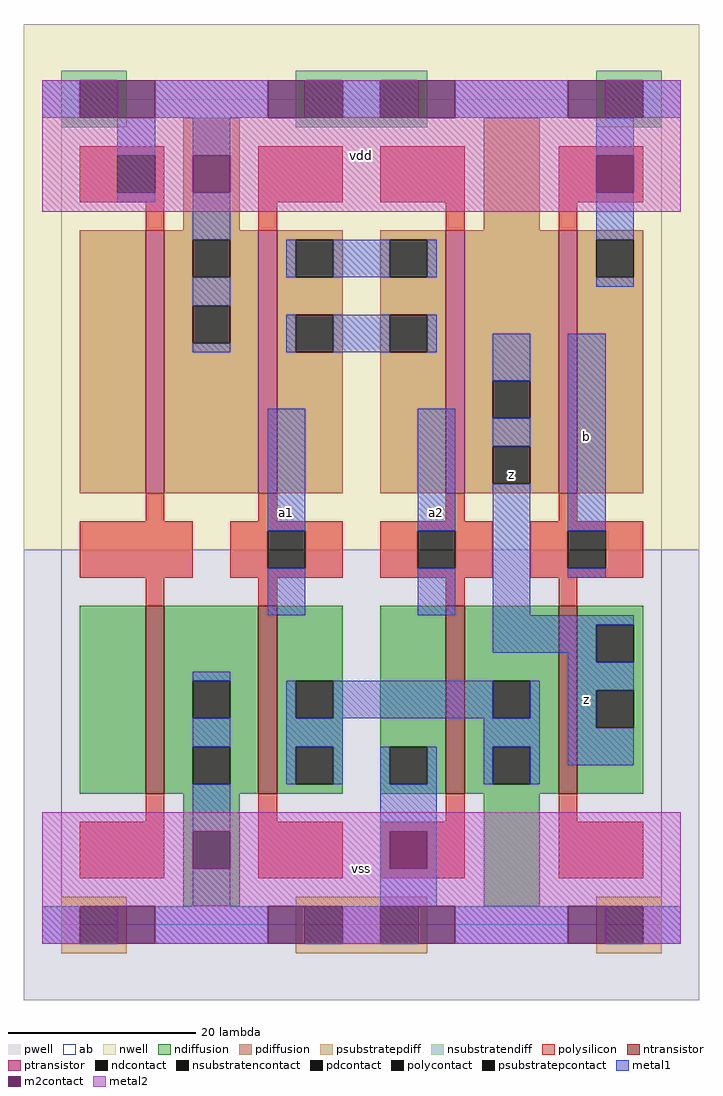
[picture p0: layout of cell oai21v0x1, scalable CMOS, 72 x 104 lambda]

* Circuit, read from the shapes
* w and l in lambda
.subckt oai21v0x1 a1 a2 b vdd vss z
M1 vss vdd n1 vss nfet w=20 l=2
M2 n2 a1 vss vss nfet w=20 l=2
M3 n2 a2 vss vss nfet w=20 l=2
M4 z b n2 vss nfet w=20 l=2
M5 vdd vdd n3 vdd pfet w=28 l=2
M6 n4 a1 vdd vdd pfet w=28 l=2
M7 z a2 n4 vdd pfet w=28 l=2
M8 vdd b z vdd pfet w=28 l=2
.ends

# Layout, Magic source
magic
tech scmos
<< ab >>
rect 0 0 64 88
<< pwell >>
rect -4 -8 68 40
<< nwell >>
rect -4 40 68 96
<< polysilicon >>
rect 2 82 11 83
rect 2 78 6 82
rect 10 78 11 82
rect 2 77 11 78
rect 9 74 11 77
rect 21 77 30 83
rect 34 77 43 83
rect 21 74 23 77
rect 41 74 43 77
rect 53 77 62 83
rect 53 74 55 77
rect 9 43 11 46
rect 21 43 23 46
rect 41 43 43 46
rect 53 43 55 46
rect 2 37 14 43
rect 18 42 30 43
rect 18 38 22 42
rect 26 38 30 42
rect 18 37 30 38
rect 34 42 46 43
rect 34 38 38 42
rect 42 38 46 42
rect 34 37 46 38
rect 50 42 62 43
rect 50 38 54 42
rect 58 38 62 42
rect 50 37 62 38
rect 9 34 11 37
rect 21 34 23 37
rect 41 34 43 37
rect 53 34 55 37
rect 9 11 11 14
rect 2 5 11 11
rect 21 11 23 14
rect 41 11 43 14
rect 21 5 30 11
rect 34 5 43 11
rect 53 11 55 14
rect 53 5 62 11
<< ndiffusion >>
rect 2 14 9 34
rect 11 26 21 34
rect 11 22 14 26
rect 18 22 21 26
rect 11 19 21 22
rect 11 15 14 19
rect 18 15 21 19
rect 11 14 21 15
rect 23 26 30 34
rect 23 22 25 26
rect 29 22 30 26
rect 23 19 30 22
rect 23 15 25 19
rect 29 15 30 19
rect 23 14 30 15
rect 34 19 41 34
rect 34 15 35 19
rect 39 15 41 19
rect 34 14 41 15
rect 43 26 53 34
rect 43 22 46 26
rect 50 22 53 26
rect 43 19 53 22
rect 43 15 46 19
rect 50 15 53 19
rect 43 14 53 15
rect 55 32 62 34
rect 55 28 57 32
rect 61 28 62 32
rect 55 25 62 28
rect 55 21 57 25
rect 61 21 62 25
rect 55 14 62 21
rect 13 2 19 14
rect 45 2 51 14
<< pdiffusion >>
rect 13 74 19 86
rect 45 74 51 86
rect 2 46 9 74
rect 11 73 21 74
rect 11 69 14 73
rect 18 69 21 73
rect 11 66 21 69
rect 11 62 14 66
rect 18 62 21 66
rect 11 46 21 62
rect 23 73 30 74
rect 23 69 25 73
rect 29 69 30 73
rect 23 65 30 69
rect 23 61 25 65
rect 29 61 30 65
rect 23 46 30 61
rect 34 73 41 74
rect 34 69 35 73
rect 39 69 41 73
rect 34 65 41 69
rect 34 61 35 65
rect 39 61 41 65
rect 34 46 41 61
rect 43 58 53 74
rect 43 54 46 58
rect 50 54 53 58
rect 43 51 53 54
rect 43 47 46 51
rect 50 47 53 51
rect 43 46 53 47
rect 55 73 62 74
rect 55 69 57 73
rect 61 69 62 73
rect 55 46 62 69
<< metal1 >>
rect -2 86 2 90
rect 10 86 22 90
rect 30 86 34 90
rect 42 86 54 90
rect 62 86 66 90
rect 6 82 10 86
rect 6 77 10 78
rect 14 82 18 86
rect 14 73 18 78
rect 57 82 61 86
rect 57 73 61 78
rect 24 69 25 73
rect 29 69 35 73
rect 39 69 40 73
rect 14 66 18 69
rect 57 68 61 69
rect 14 61 18 62
rect 24 61 25 65
rect 29 61 35 65
rect 39 61 40 65
rect 46 58 50 63
rect 22 42 26 55
rect 22 33 26 38
rect 38 42 42 55
rect 38 33 42 38
rect 46 51 50 54
rect 46 33 50 47
rect 54 42 58 63
rect 54 37 58 38
rect 46 32 61 33
rect 46 29 57 32
rect 54 28 57 29
rect 14 26 18 27
rect 14 19 18 22
rect 24 22 25 26
rect 29 22 46 26
rect 50 22 51 26
rect 24 19 30 22
rect 45 19 51 22
rect 24 15 25 19
rect 29 15 30 19
rect 34 15 35 19
rect 39 15 40 19
rect 45 15 46 19
rect 50 15 51 19
rect 54 25 61 28
rect 54 21 57 25
rect 54 17 61 21
rect 14 10 18 15
rect 14 2 18 6
rect 34 10 40 15
rect 34 6 35 10
rect 39 6 40 10
rect 34 2 40 6
rect -2 -2 2 2
rect 10 -2 22 2
rect 30 -2 34 2
rect 42 -2 54 2
rect 62 -2 66 2
<< metal2 >>
rect -2 86 6 90
rect 10 86 22 90
rect 26 86 38 90
rect 42 86 54 90
rect 58 86 66 90
rect -2 82 66 86
rect -2 78 14 82
rect 18 78 57 82
rect 61 78 66 82
rect -2 76 66 78
rect -2 10 66 12
rect -2 6 14 10
rect 18 6 35 10
rect 39 6 66 10
rect -2 2 66 6
rect -2 -2 6 2
rect 10 -2 22 2
rect 26 -2 38 2
rect 42 -2 54 2
rect 58 -2 66 2
<< ntransistor >>
rect 9 14 11 34
rect 21 14 23 34
rect 41 14 43 34
rect 53 14 55 34
<< ptransistor >>
rect 9 46 11 74
rect 21 46 23 74
rect 41 46 43 74
rect 53 46 55 74
<< polycontact >>
rect 6 78 10 82
rect 22 38 26 42
rect 38 38 42 42
rect 54 38 58 42
<< ndcontact >>
rect 14 22 18 26
rect 14 15 18 19
rect 25 22 29 26
rect 25 15 29 19
rect 35 15 39 19
rect 46 22 50 26
rect 46 15 50 19
rect 57 28 61 32
rect 57 21 61 25
<< pdcontact >>
rect 14 69 18 73
rect 14 62 18 66
rect 25 69 29 73
rect 25 61 29 65
rect 35 69 39 73
rect 35 61 39 65
rect 46 54 50 58
rect 46 47 50 51
rect 57 69 61 73
<< m2contact >>
rect 6 86 10 90
rect 22 86 26 90
rect 38 86 42 90
rect 54 86 58 90
rect 14 78 18 82
rect 57 78 61 82
rect 14 6 18 10
rect 35 6 39 10
rect 6 -2 10 2
rect 22 -2 26 2
rect 38 -2 42 2
rect 54 -2 58 2
<< psubstratepcontact >>
rect 2 -2 6 2
rect 26 -2 30 2
rect 34 -2 38 2
rect 58 -2 62 2
<< nsubstratencontact >>
rect 2 86 6 90
rect 26 86 30 90
rect 34 86 38 90
rect 58 86 62 90
<< psubstratepdiff >>
rect 0 2 7 3
rect 25 2 39 3
rect 57 2 64 3
rect 0 -2 2 2
rect 6 -2 7 2
rect 0 -3 7 -2
rect 25 -2 26 2
rect 30 -2 34 2
rect 38 -2 39 2
rect 25 -3 39 -2
rect 57 -2 58 2
rect 62 -2 64 2
rect 57 -3 64 -2
<< nsubstratendiff >>
rect 0 90 7 91
rect 0 86 2 90
rect 6 86 7 90
rect 25 90 39 91
rect 25 86 26 90
rect 30 86 34 90
rect 38 86 39 90
rect 57 90 64 91
rect 57 86 58 90
rect 62 86 64 90
rect 0 85 7 86
rect 25 85 39 86
rect 57 85 64 86
<< labels >>
rlabel metal1 24 44 24 44 6 a1
rlabel metal1 40 44 40 44 6 a2
rlabel metal1 56 24 56 24 6 z
rlabel pdcontact 48 48 48 48 6 z
rlabel metal1 56 52 56 52 6 b
rlabel metal2 32 6 32 6 6 vss
rlabel metal2 32 82 32 82 6 vdd
<< end >>
